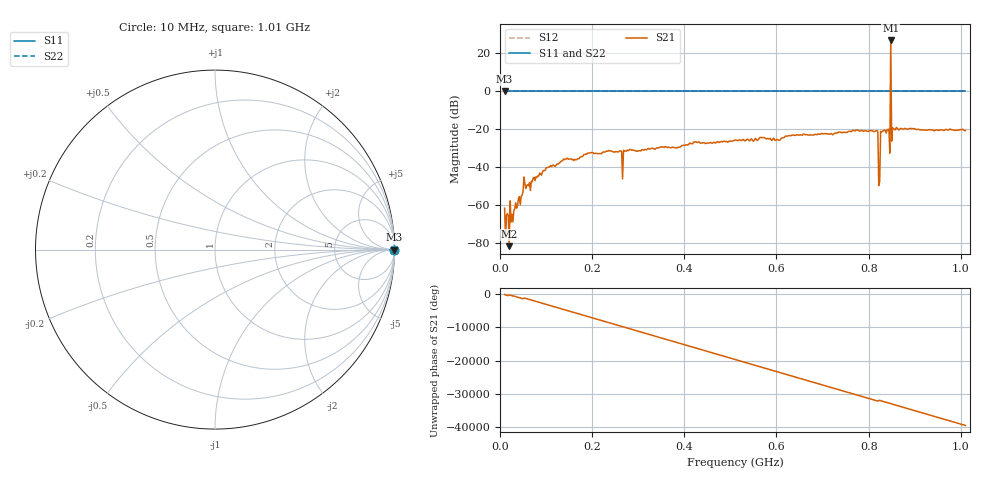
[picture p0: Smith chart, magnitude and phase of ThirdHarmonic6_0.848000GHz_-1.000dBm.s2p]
! 8/16/2025 4:05:23 AM
! C:\ANRITSUVNA\TEMP\TEMP.S2P
! CHANNEL.1
! TR.MEASUREMENT
! RAW.DATA
! RF.CORRECTION.OFF
! AVERAGING.OFF
! IF.BANDWIDTH: 5KHZ
! SWEEPTYPE:  FREQ.SWEEP(Linear)
! Reference Plane Port Info
! PORT:  PORT1  PORT2
! DISTANCE:  0  m  0  m
! TIME:  0  s  0  s
! PHASE.OFFSET:  0  deg.  0  deg.
! LOSS:  0  dB  0  dB
! REF.LOSS:  0  dB  0  dB
! REF.FREQ:  0  Hz  0  Hz
! Power Info
! POWER:  -20  dBm  -20  dBm
! EFF.POWER:  -20  dBm  -20  dBm
! SOURCE.ATTEN:  0  dB  0  dB
! TEST.ATTEN:  0  dB  0  dB
# GHZ S RI R 50.0
! FREQ.GHZ  S11RE  S11IM  S21RE  S21IM  S12RE  S12IM  S22RE  S22IM
!; PortSelection: Port_12
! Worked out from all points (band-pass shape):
!   501 points, 10 MHz to 1.01 GHz, reference 50 ohm
!   highest |S21| = 26.74 dB at 848 MHz (marker M1); lowest = -81.5 dB at 20 MHz (marker M2)
!   |S21| within 3 dB of the highest: 847.8988 MHz to 848.1133 MHz (214.5 kHz wide, 0.0253 % of centre)
!   lowest |S11| = 0.0 dB at 10 MHz (marker M3)
!   |S11| at or under -10 dB: nowhere
!   |S22| runs from 0.0 to 0.0 dB; largest |S21 - S12| = 23
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0.01  1 0  -0.000843 -7.63e-05  1 0  1 0
0.016  1 0  -0.000228 -0.000567  1 0  1 0
0.02  1 0  8.45e-05 -5e-07  1 0  1 0
0.024  1 0  -0.000173 -0.000321  1 0  1 0
0.056  1 0  -0.000411 0.00276  1 0  1 0
0.106  1 0  -0.00747 -0.00682  1 0  1 0
0.178  1 0  -0.019 -0.00245  1 0  1 0
0.238  1 0  0.00227 -0.027  1 0  1 0
0.268  1 0  -0.0247 0.0134  1 0  1 0
0.344  1 0  0.0296 -0.0129  1 0  1 0
0.51  1 0  -0.039 0.0347  1 0  1 0
0.678  1 0  -0.0606 -0.0366  1 0  1 0
0.816  1 0  0.069 0.0599  1 0  1 0
0.82  1 0  -0.0478 -0.0727  1 0  1 0
0.826  1 0  0.0879 -0.00886  1 0  1 0
0.83  1 0  -0.0818 -0.0296  1 0  1 0
0.842  1 0  0.0227 0.0969  1 0  1 0
0.844  1 0  0.1002 -0.0139  1 0  1 0
0.848  1 0  -20.01 -8.499  1 0  1 0
0.852  1 0  0.0966 0.0514  1 0  1 0
0.854  1 0  0.0609 -0.0865  1 0  1 0
1.01  1 0  -0.0571 0.0734  1 0  1 0
